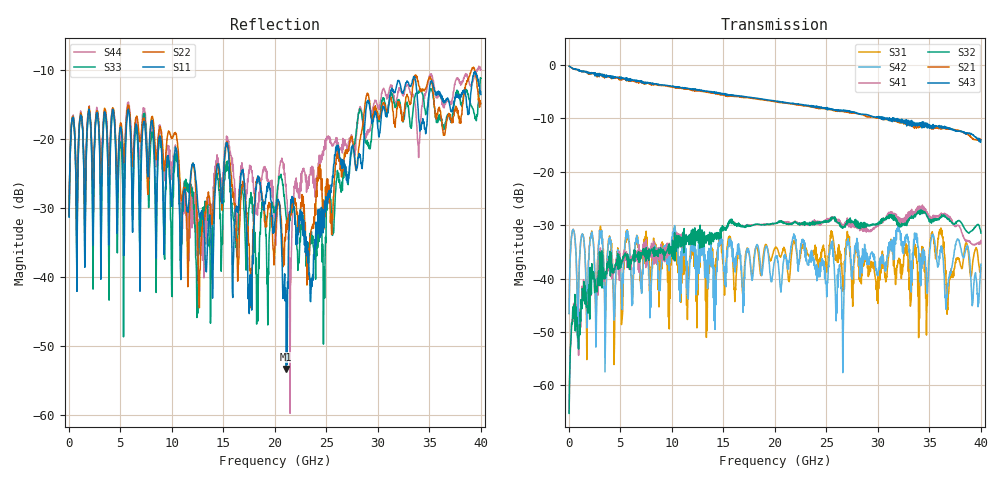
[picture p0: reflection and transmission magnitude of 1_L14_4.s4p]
! 7/15/2021 6:53:34 PM
! C:\USERS\VECTORSTARUSER\DESKTOP\SAMPLE\2021\PD7\18VPD7094DY\1-L14-4.S4P
! CHANNEL.1
! TR.MEASUREMENT
! CORRECTED.DATA
! RF.CORRECTION: FULL.FOUR.PORT.CAL.PORT.1.2.3.4
! AVERAGING.OFF
! IF.BANDWIDTH: 1KHZ
! SWEEPTYPE:  FREQ.SWEEP(Linear)
! Reference Plane Port Info
! PORT:  PORT1  PORT2  PORT3  PORT4
! DISTANCE:  0  m  0  m  0  m  0  m
! TIME:  0  s  0  s  0  s  0  s
! PHASE.OFFSET:  0 °  0 °  0 °  0 °
! LOSS:  0  dB  0  dB  0  dB  0  dB
! REF.LOSS:  0  dB  0  dB  0  dB  0  dB
! REF.FREQ:  0  Hz  0  Hz  0  Hz  0  Hz
! Power Info
! POWER:  -10  dBm  -10  dBm  -10  dBm  -10  dBm
! EFF.POWER:  -10  dBm  -10  dBm  -10  dBm  -10  dBm
# GHZ S RI R 50.0
! FREQ.GHZ  S11RE  S11IM  S12RE  S12IM  S13RE  S13IM  S14RE  S14IM
!  S21RE  S21IM  S22RE  S22IM  S23RE  S23IM  S24RE  S24IM
!  S31RE  S31IM  S32RE  S32IM  S33RE  S33IM  S34RE  S34IM
!  S41RE  S41IM  S42RE  S42IM  S43RE  S43IM  S44RE  S44IM
!; PortSelection: Port_1234
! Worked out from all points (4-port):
!   1000 points, 40 MHz to 40 GHz, reference 50 ohm
!   strongest paths, dB at 40 MHz, 10.04 GHz, 20.04 GHz, 30.04 GHz, 40 GHz:
!     S43: -0.2, -4.0, -6.7, -9.9, -14.0
!     S21: -0.2, -4.1, -6.9, -9.9, -14.0
!     S32: -65.2, -35.9, -29.7, -29.9, -31.5
!     S41: -65.1, -35.9, -29.6, -30.2, -32.9
!     S42: -46.5, -33.4, -36.1, -38.7, -37.3
!     S31: -46.5, -35.8, -34.2, -39.4, -38.0
!   lowest |S11| = -53.3 dB at 21.12 GHz (marker M1), VSWR 1.00, Z = 50.2 - j0.0855 ohm
!   |S11| at or under -10 dB: start of sweep to end of sweep
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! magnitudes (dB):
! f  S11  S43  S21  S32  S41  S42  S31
! 40 MHz  -31.3  -0.2  -0.2  -65.2  -65.1  -46.5  -46.5
! 3.08 GHz  -29.2  -1.9  -1.9  -35.4  -34.3  -31.5  -30.2
! 12.72 GHz  -31.3  -4.8  -4.9  -34.3  -32.0  -37.0  -37.9
! 15.32 GHz  -20.5  -5.6  -5.7  -30.4  -30.6  -38.9  -35.8
! 21.12 GHz  -53.3  -7.1  -7.1  -29.6  -29.5  -36.1  -36.3
! 29.04 GHz  -14.4  -9.3  -9.7  -30.0  -30.8  -37.1  -37.2
! 40 GHz  -13.6  -14.0  -14.0  -31.5  -32.9  -37.3  -38.0
